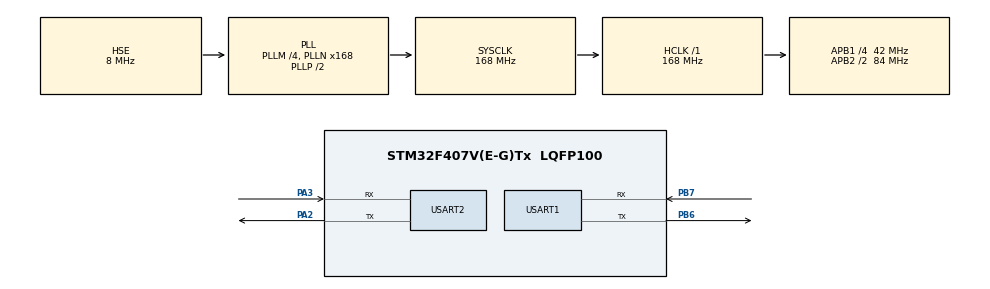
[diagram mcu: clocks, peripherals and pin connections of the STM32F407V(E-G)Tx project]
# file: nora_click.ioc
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Mcu.Family=STM32F4
Mcu.Name=STM32F407V(E-G)Tx
Mcu.Package=LQFP100
NVIC.PriorityGroup=NVIC_PRIORITYGROUP_4
PA2.Mode=Asynchronous
PA2.Signal=USART2_TX
PA3.Mode=Asynchronous
PA3.Signal=USART2_RX
PB6.Mode=Asynchronous
PB6.Signal=USART1_TX
PB7.Mode=Asynchronous
PB7.Signal=USART1_RX
PH0-OSC_IN.Mode=HSE-External-Oscillator
PH0-OSC_IN.Signal=RCC_OSC_IN
PH1-OSC_OUT.Mode=HSE-External-Oscillator
PH1-OSC_OUT.Signal=RCC_OSC_OUT
ProjectManager.HeapSize=0x200
ProjectManager.StackSize=0x400
ProjectManager.TargetToolchain=STM32CubeIDE
RCC.48MHZClocksFreq_Value=84000000
RCC.AHBFreq_Value=168000000
RCC.APB1CLKDivider=RCC_HCLK_DIV4
RCC.APB1Freq_Value=42000000
RCC.APB1TimFreq_Value=84000000
RCC.APB2CLKDivider=RCC_HCLK_DIV2
RCC.APB2Freq_Value=84000000
RCC.APB2TimFreq_Value=168000000
RCC.CortexFreq_Value=168000000
RCC.HCLKFreq_Value=168000000
RCC.HSE_VALUE=8000000
RCC.HSI_VALUE=16000000
RCC.LSE_VALUE=32768
RCC.PLLM=4
RCC.PLLN=168
RCC.PLLSourceVirtual=RCC_PLLSOURCE_HSE
RCC.SYSCLKFreq_VALUE=168000000
RCC.SYSCLKSource=RCC_SYSCLKSOURCE_PLLCLK
RCC.VCOOutputFreq_Value=336000000
USART1.VirtualMode=VM_ASYNC
USART2.VirtualMode=VM_ASYNC
board=custom

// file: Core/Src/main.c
/* USER CODE BEGIN Header */
/**
  ******************************************************************************
  * @file           : main.c
  * @brief          : Main program body
  ******************************************************************************
  * @attention
  *
  * Copyright (c) 2026 STMicroelectronics.
  * All rights reserved.
  *
  * This software is licensed under terms that can be found in the LICENSE file
  * in the root directory of this software component.
  * If no LICENSE file comes with this software, it is provided AS-IS.
  *
  ******************************************************************************
  */
/* USER CODE END Header */
#include "main.h"

/* USER CODE BEGIN Includes */
#include <stdio.h>
#include <string.h>
/* USER CODE END Includes */

/* USER CODE BEGIN PD */
#define WIFI_CHECK_INTERVAL_MS 30000
#define PUBLISH_INTERVAL_MS    5000
/* USER CODE END PD */

UART_HandleTypeDef huart1;
UART_HandleTypeDef huart2;

/* USER CODE BEGIN PV */
#define RX_BUFFER_SIZE 512
uint8_t rx;
char rxBuffer[RX_BUFFER_SIZE];
/* USER CODE END PV */

void SystemClock_Config(void);
static void MX_GPIO_Init(void);
static void MX_USART2_UART_Init(void);
static void MX_USART1_UART_Init(void);
/* USER CODE BEGIN PFP */
uint8_t NORA_SendCommand(const char *cmd);
void NORA_ClearBuffer(void);
uint8_t NORA_IsWiFiConnected(void);
void NORA_ConnectWiFi(void);
void NORA_ConnectMQTT(void);
/* USER CODE END PFP */

int main(void)
{

  /* MCU Configuration--------------------------------------------------------*/
  HAL_Init();

  SystemClock_Config();

  MX_GPIO_Init();
  MX_USART2_UART_Init();
  MX_USART1_UART_Init();
  /* USER CODE BEGIN 2 */
  char msg[] = "STM32 UART is working!\r\n";
  HAL_UART_Transmit(&huart1, (uint8_t*)msg, strlen(msg), HAL_MAX_DELAY);

  NORA_SendCommand("AT");

    if (NORA_IsWiFiConnected())
    {
        HAL_UART_Transmit(&huart1, (uint8_t*)"Already connected\r\n", strlen("Already connected\r\n"), HAL_MAX_DELAY);

    }
    else
    {
        NORA_ConnectWiFi();
        NORA_ConnectMQTT();
    }
  /* USER CODE END 2 */

  /* Infinite loop */
  /* USER CODE BEGIN WHILE */
  uint32_t lastWifiCheck = HAL_GetTick();
  uint32_t lastPublish   = HAL_GetTick();

  while (1)
  {
    /* USER CODE END WHILE */

    /* USER CODE BEGIN 3 */

    /* Check WiFi/MQTT connection chaque 30 sec  */
	if (HAL_GetTick() - lastWifiCheck >= WIFI_CHECK_INTERVAL_MS)
	   {
	     lastWifiCheck = HAL_GetTick();

	     uint8_t wifiOk = NORA_IsWiFiConnected();
	       if (!wifiOk)
	        {
	          HAL_UART_Transmit(&huart1, (uint8_t*)"WiFi lost, reconnecting...\r\n",
	                                 strlen("WiFi lost, reconnecting...\r\n"), HAL_MAX_DELAY);
	            NORA_ConnectWiFi();
	            NORA_ConnectMQTT();
	     }

	      }
    /* Publish  data chaque  5 seconds */
	 if (HAL_GetTick() - lastPublish >= PUBLISH_INTERVAL_MS)
	    {
	        lastPublish = HAL_GetTick();

	        if (!NORA_SendCommand("AT+UMQPS=0,0,0,\"sensors/temperature\",\"25.6\""))
	        {
	            HAL_UART_Transmit(&huart1, (uint8_t*)"Publish failed, MQTT likely down\r\n",
	                               strlen("Publish failed, MQTT likely down\r\n"), HAL_MAX_DELAY);
	            NORA_ConnectMQTT();
	        }
	    }
  }
  /* USER CODE END 3 */
}

void SystemClock_Config(void)
{
  RCC_OscInitTypeDef RCC_OscInitStruct = {0};
  RCC_ClkInitTypeDef RCC_ClkInitStruct = {0};

  __HAL_RCC_PWR_CLK_ENABLE();
  __HAL_PWR_VOLTAGESCALING_CONFIG(PWR_REGULATOR_VOLTAGE_SCALE1);

  RCC_OscInitStruct.OscillatorType = RCC_OSCILLATORTYPE_HSE;
  RCC_OscInitStruct.HSEState = RCC_HSE_ON;
  RCC_OscInitStruct.PLL.PLLState = RCC_PLL_ON;
  RCC_OscInitStruct.PLL.PLLSource = RCC_PLLSOURCE_HSE;
  RCC_OscInitStruct.PLL.PLLM = 4;
  RCC_OscInitStruct.PLL.PLLN = 168;
  RCC_OscInitStruct.PLL.PLLP = RCC_PLLP_DIV2;
  RCC_OscInitStruct.PLL.PLLQ = 4;
  if (HAL_RCC_OscConfig(&RCC_OscInitStruct) != HAL_OK)
  {
    Error_Handler();
  }

  RCC_ClkInitStruct.ClockType = RCC_CLOCKTYPE_HCLK|RCC_CLOCKTYPE_SYSCLK
                              |RCC_CLOCKTYPE_PCLK1|RCC_CLOCKTYPE_PCLK2;
  RCC_ClkInitStruct.SYSCLKSource = RCC_SYSCLKSOURCE_PLLCLK;
  RCC_ClkInitStruct.AHBCLKDivider = RCC_SYSCLK_DIV1;
  RCC_ClkInitStruct.APB1CLKDivider = RCC_HCLK_DIV4;
  RCC_ClkInitStruct.APB2CLKDivider = RCC_HCLK_DIV2;

  if (HAL_RCC_ClockConfig(&RCC_ClkInitStruct, FLASH_LATENCY_5) != HAL_OK)
  {
    Error_Handler();
  }
}

static void MX_USART1_UART_Init(void)
{
  huart1.Instance = USART1;
  huart1.Init.BaudRate = 115200;
  huart1.Init.WordLength = UART_WORDLENGTH_8B;
  huart1.Init.StopBits = UART_STOPBITS_1;
  huart1.Init.Parity = UART_PARITY_NONE;
  huart1.Init.Mode = UART_MODE_TX_RX;
  huart1.Init.HwFlowCtl = UART_HWCONTROL_NONE;
  huart1.Init.OverSampling = UART_OVERSAMPLING_16;
  if (HAL_UART_Init(&huart1) != HAL_OK)
  {
    Error_Handler();
  }
}

static void MX_USART2_UART_Init(void)
{
  huart2.Instance = USART2;
  huart2.Init.BaudRate = 115200;
  huart2.Init.WordLength = UART_WORDLENGTH_8B;
  huart2.Init.StopBits = UART_STOPBITS_1;
  huart2.Init.Parity = UART_PARITY_NONE;
  huart2.Init.Mode = UART_MODE_TX_RX;
  huart2.Init.HwFlowCtl = UART_HWCONTROL_NONE;
  huart2.Init.OverSampling = UART_OVERSAMPLING_16;
  if (HAL_UART_Init(&huart2) != HAL_OK)
  {
    Error_Handler();
  }
}

static void MX_GPIO_Init(void)
{
  __HAL_RCC_GPIOH_CLK_ENABLE();
  __HAL_RCC_GPIOA_CLK_ENABLE();
  __HAL_RCC_GPIOB_CLK_ENABLE();
}

/* USER CODE BEGIN 4 */
/* Change NORA_SendCommand to return 1 on OK, 0 on ERROR/timeout */
uint8_t NORA_SendCommand(const char *cmd)
{
    char txBuffer[128];

    memset(rxBuffer, 0, sizeof(rxBuffer));
    NORA_ClearBuffer();

    sprintf(txBuffer,"%s\r\n",cmd);

    HAL_UART_Transmit(&huart2, (uint8_t *)txBuffer, strlen(txBuffer), HAL_MAX_DELAY);
    HAL_UART_Transmit(&huart1, (uint8_t *)"> ", 2, HAL_MAX_DELAY);
    HAL_UART_Transmit(&huart1, (uint8_t *)txBuffer, strlen(txBuffer), HAL_MAX_DELAY);

    uint16_t index=0;
    uint32_t startTick=HAL_GetTick();
    uint8_t gotOK = 0;

    while(index < RX_BUFFER_SIZE-1)
    {
        if(HAL_UART_Receive(&huart2,&rx,1,50)==HAL_OK)
        {
            rxBuffer[index++]=rx;
            rxBuffer[index]=0;

            if(strstr(rxBuffer,"\r\nOK\r\n")!=NULL)
            {
                gotOK = 1;
                break;
            }

            if(strstr(rxBuffer,"\r\nERROR\r\n")!=NULL)
                break;
        }

        if(HAL_GetTick()-startTick>8000)
            break;
    }

    HAL_UART_Transmit(&huart1, (uint8_t*)rxBuffer, strlen(rxBuffer), HAL_MAX_DELAY);
    HAL_UART_Transmit(&huart1, (uint8_t*)"\r\n", 2, HAL_MAX_DELAY);

    return gotOK;
}
void NORA_ClearBuffer(void)
{
    while (HAL_UART_Receive(&huart2, &rx, 1, 10) == HAL_OK)
    {
        // Discard received byte
    }
}

/* Returns 1 if the module reports a WiFi IP, 0 otherwise */
uint8_t NORA_IsWiFiConnected(void)
{
    NORA_SendCommand("AT+UWSNST?");
    return (strstr(rxBuffer, "+UWSNST:0,192.168.") != NULL) ? 1 : 0;
}

void NORA_ConnectWiFi(void)
{
    HAL_UART_Transmit(&huart1, (uint8_t *)"Connecting to WiFi...\r\n",
                       strlen("Connecting to WiFi...\r\n"), HAL_MAX_DELAY);

    NORA_SendCommand("AT+UWSCP=0,\"Ooredoo 5G_865FA6\"");
    NORA_SendCommand("AT+UWSSW=0,\"2Q8SSZ5PB6\",0");
    NORA_SendCommand("AT+UWSIPD=0");
    NORA_SendCommand("AT+UWSC=0");

    HAL_Delay(5000);

    NORA_SendCommand("AT+UWSNST?");
}

void NORA_ConnectMQTT(void)
{
    NORA_SendCommand("AT+UMQTLS=0,2,\"ca_crt\",\"temp_sensor_crt\",\"temp_sensor_key\"");
    NORA_SendCommand("AT+UMQCP=0,\"192.168.1.228\",8883,\"temperature_sensor\",\"temperature_sensor\",\"906271\"");
    NORA_SendCommand("AT+UMQC=0");
    HAL_Delay(2000);
}
/* USER CODE END 4 */

void Error_Handler(void)
{
  __disable_irq();
  while (1)
  {
  }
}
